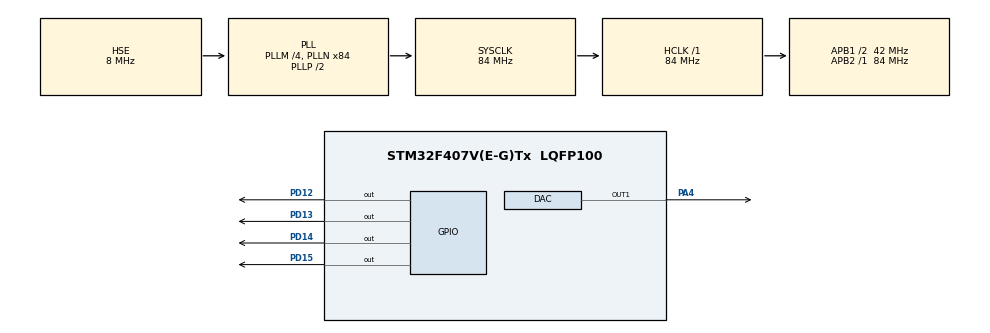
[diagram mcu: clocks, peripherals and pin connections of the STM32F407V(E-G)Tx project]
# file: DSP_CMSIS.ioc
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DAC.DAC_Trigger=DAC_TRIGGER_T2_TRGO
Dma.DAC1.0.Direction=DMA_MEMORY_TO_PERIPH
Dma.DAC1.0.FIFOMode=DMA_FIFOMODE_DISABLE
Dma.DAC1.0.Instance=DMA1_Stream5
Dma.DAC1.0.MemDataAlignment=DMA_MDATAALIGN_WORD
Dma.DAC1.0.MemInc=DMA_MINC_ENABLE
Dma.DAC1.0.Mode=DMA_CIRCULAR
Dma.DAC1.0.PeriphDataAlignment=DMA_PDATAALIGN_WORD
Dma.DAC1.0.PeriphInc=DMA_PINC_DISABLE
Dma.DAC1.0.Priority=DMA_PRIORITY_LOW
Dma.Request0=DAC1
Mcu.Family=STM32F4
Mcu.Name=STM32F407V(E-G)Tx
Mcu.Package=LQFP100
NVIC.DMA1_Stream5_IRQn=true\:0\:0\:false\:false\:true\:false\:true
NVIC.PriorityGroup=NVIC_PRIORITYGROUP_4
NVIC.TIM2_IRQn=true\:0\:0\:false\:false\:true\:true\:true
PA4.Signal=COMP_DAC1_group
PD12.Signal=GPIO_Output
PD13.Signal=GPIO_Output
PD14.Signal=GPIO_Output
PD15.Signal=GPIO_Output
PH0-OSC_IN.Mode=HSE-External-Oscillator
PH0-OSC_IN.Signal=RCC_OSC_IN
PH1-OSC_OUT.Mode=HSE-External-Oscillator
PH1-OSC_OUT.Signal=RCC_OSC_OUT
ProjectManager.HeapSize=0x200
ProjectManager.StackSize=0x400
ProjectManager.TargetToolchain=STM32CubeIDE
RCC.48MHZClocksFreq_Value=42000000
RCC.AHBFreq_Value=84000000
RCC.APB1CLKDivider=RCC_HCLK_DIV2
RCC.APB1Freq_Value=42000000
RCC.APB1TimFreq_Value=84000000
RCC.APB2Freq_Value=84000000
RCC.APB2TimFreq_Value=84000000
RCC.CortexFreq_Value=84000000
RCC.HCLKFreq_Value=84000000
RCC.HSE_VALUE=8000000
RCC.HSI_VALUE=16000000
RCC.LSE_VALUE=32768
RCC.PLLM=4
RCC.PLLN=84
RCC.PLLSourceVirtual=RCC_PLLSOURCE_HSE
RCC.SYSCLKFreq_VALUE=84000000
RCC.SYSCLKSource=RCC_SYSCLKSOURCE_PLLCLK
RCC.VCOOutputFreq_Value=168000000
SH.COMP_DAC1_group.0=DAC_OUT1,DAC_OUT1
TIM2.Period=10-1
TIM2.Prescaler=84-1
TIM2.TIM_MasterOutputTrigger=TIM_TRGO_UPDATE
VP_TIM2_VS_ClockSourceINT.Mode=Internal
board=custom

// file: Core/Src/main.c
/* USER CODE BEGIN Header */
/**
  ******************************************************************************
  * @file           : main.c
  * @brief          : Main program body
  ******************************************************************************
  * @attention
  *
  * <h2><center>&copy; Copyright (c) 2021 STMicroelectronics.
  * All rights reserved.</center></h2>
  *
  * This software component is licensed by ST under BSD 3-Clause license,
  * the "License"; You may not use this file except in compliance with the
  * License. You may obtain a copy of the License at:
  *                        opensource.org/licenses/BSD-3-Clause
  *
  ******************************************************************************
  */
/* USER CODE END Header */
#include "main.h"

/* USER CODE BEGIN Includes */
#define ARM_MATH_CM4
#include "arm_math.h"
#include "math.h"
#include "stdlib.h"
/* USER CODE END Includes */

/* USER CODE BEGIN PD */

#define TEST_LENGTH_SAMPLES  500 // in example, TEST_LENGTH_SAMPLES = 320
#define SNR_THRESHOLD_F32    140.0f
#define BLOCK_SIZE            32
#define NUM_TAPS              29

#define pi 3.141592f
/* USER CODE END PD */

DAC_HandleTypeDef hdac;
DMA_HandleTypeDef hdma_dac1;

TIM_HandleTypeDef htim2;

/* USER CODE BEGIN PV */
 float32_t testInput_f32_1kHz_15kHz[TEST_LENGTH_SAMPLES];
 float32_t refOutput[TEST_LENGTH_SAMPLES]; ///////////

 uint32_t tmp[TEST_LENGTH_SAMPLES], tmp2[TEST_LENGTH_SAMPLES];
 uint32_t val[TEST_LENGTH_SAMPLES];
 uint32_t var;
 uint32_t val_noise[TEST_LENGTH_SAMPLES];
 uint32_t sum_noise[TEST_LENGTH_SAMPLES];
 uint32_t val2[TEST_LENGTH_SAMPLES];

/* -------------------------------------------------------------------
 * Declare Test output buffer
 * ------------------------------------------------------------------- */

 float32_t testOutput[TEST_LENGTH_SAMPLES];

/* -------------------------------------------------------------------
 * Declare State buffer of size (numTaps + blockSize - 1)
 * ------------------------------------------------------------------- */

static float32_t firStateF32[BLOCK_SIZE + NUM_TAPS - 1];

/* ----------------------------------------------------------------------
** FIR Coefficients buffer generated using fir1() MATLAB function.
** fir1(28, 6/24)
** ------------------------------------------------------------------- */

//const float32_t firCoeffs32[NUM_TAPS] = {
//  -0.0018225230f, -0.0015879294f, +0.0000000000f, +0.0036977508f, +0.0080754303f, +0.0085302217f, -0.0000000000f, -0.0173976984f,
//  -0.0341458607f, -0.0333591565f, +0.0000000000f, +0.0676308395f, +0.1522061835f, +0.2229246956f, +0.2504960933f, +0.2229246956f,
//  +0.1522061835f, +0.0676308395f, +0.0000000000f, -0.0333591565f, -0.0341458607f, -0.0173976984f, -0.0000000000f, +0.0085302217f,
//  +0.0080754303f, +0.0036977508f, +0.0000000000f, -0.0015879294f, -0.0018225230f
//}; // example --> Filter only noise

const float32_t firCoeffs32[NUM_TAPS] = {
		0.002953541, 0.003686215, 0.00541707, 0.008286878, 0.012348381, 0.017554835, 0.023757007, 0.030709219,
		0.038084193, 0.045495597, 0.052526493, 0.058761266, 0.063818281, 0.067380398, 0.069220626, 0.069220626,
		0.067380398, 0.063818281, 0.058761266, 0.052526493, 0.045495597, 0.038084193, 0.030709219, 0.023757007,
		0.017554835, 0.012348381, 0.008286878, 0.00541707, 0.003686215, 0.002953541

}; //Using Hamming window with Fc = 200 Hz to filter signal 300Hz

/* ------------------------------------------------------------------
 * Global variables for FIR LPF Example
 * ------------------------------------------------------------------- */

uint32_t blockSize = BLOCK_SIZE;
uint32_t numBlocks = TEST_LENGTH_SAMPLES/BLOCK_SIZE;

float32_t  snr; /////////////

uint32_t j; ////////////////////
arm_fir_instance_f32 S;
arm_status status;
float32_t  *inputF32, *outputF32;

/* USER CODE END PV */

void SystemClock_Config(void);
static void MX_GPIO_Init(void);
static void MX_DMA_Init(void);
static void MX_DAC_Init(void);
static void MX_TIM2_Init(void);
/* USER CODE BEGIN PFP */
void sinval();
void sinval2();
void noise();
void sum_signal();
void fir();
int _write(int file, char *ptr, int len);
/* USER CODE END PFP */

int main(void)
{

  /* MCU Configuration--------------------------------------------------------*/

  /* Reset of all peripherals, Initializes the Flash interface and the Systick. */
  HAL_Init();

  /* Configure the system clock */
  SystemClock_Config();

  /* Initialize all configured peripherals */
  MX_GPIO_Init();
  MX_DMA_Init();
  MX_DAC_Init();
  MX_TIM2_Init();
  /* USER CODE BEGIN 2 */

//  uint32_t i; ////////////////////
//  arm_fir_instance_f32 S;
//  arm_status status;
//  float32_t  *inputF32, *outputF32;
//
//  /* Initialize input and output buffer pointers */
//  for(int k = 0; k < TEST_LENGTH_SAMPLES; k++)
//	  {
//	  	  inputF32[k] = testInput_f32_1kHz_15kHz[k];
//	  	  outputF32[k] = testOutput[k];
//	  }
  inputF32 = &testInput_f32_1kHz_15kHz[0];
  outputF32 = &testOutput[0];

  /* Call FIR init function to initialize the instance structure. */
  arm_fir_init_f32(&S, NUM_TAPS, (float32_t *)&firCoeffs32[0], &firStateF32[0], blockSize);
  HAL_TIM_Base_Start(&htim2);
  sinval();
  sinval2();
  noise();
  sum_signal();
  fir();

	for(int a = 0; a < TEST_LENGTH_SAMPLES; a++ )
		//printf("%f\n", outputF32[a]);
		tmp2[a] = (uint32_t)outputF32[a];

  HAL_DAC_Start_DMA(&hdac, DAC_CHANNEL_1, tmp2,TEST_LENGTH_SAMPLES, DAC_ALIGN_12B_R);
	for(int a = 0; a < TEST_LENGTH_SAMPLES; a++ )
		printf("%f\n", outputF32[a]);
  // Press ctr+space to show constant and parameter in function
  /* ----------------------------------------------------------------------
  ** Call the FIR process function for every blockSize samples
  ** ------------------------------------------------------------------- */

//  for(i=0; i < numBlocks; i++)
//  {
//    arm_fir_f32(&S, inputF32 + (i * blockSize), outputF32 + (i * blockSize), blockSize);
//  }

  /* ----------------------------------------------------------------------
  ** Compare the generated output against the reference output computed
  ** in MATLAB.
  ** ------------------------------------------------------------------- */

//  snr = arm_snr_f32(&refOutput[0], &testOutput[0], TEST_LENGTH_SAMPLES);
//
//  if (snr < SNR_THRESHOLD_F32)
//  {
//    status = ARM_MATH_TEST_FAILURE;
//  }
//  else
//  {
//    status = ARM_MATH_SUCCESS;
//  }
//
//  /* ----------------------------------------------------------------------
//  ** Loop here if the signal does not match the reference output.
//  ** ------------------------------------------------------------------- */
//
//  if( status != ARM_MATH_SUCCESS)
//  {
//    while(1);
//  }
  /* USER CODE END 2 */

  /* Infinite loop */
  while (1)
  {

  }
}

void SystemClock_Config(void)
{
  RCC_OscInitTypeDef RCC_OscInitStruct = {0};
  RCC_ClkInitTypeDef RCC_ClkInitStruct = {0};

  /** Configure the main internal regulator output voltage
  */
  __HAL_RCC_PWR_CLK_ENABLE();
  __HAL_PWR_VOLTAGESCALING_CONFIG(PWR_REGULATOR_VOLTAGE_SCALE1);
  /** Initializes the RCC Oscillators according to the specified parameters
  * in the RCC_OscInitTypeDef structure.
  */
  RCC_OscInitStruct.OscillatorType = RCC_OSCILLATORTYPE_HSE;
  RCC_OscInitStruct.HSEState = RCC_HSE_ON;
  RCC_OscInitStruct.PLL.PLLState = RCC_PLL_ON;
  RCC_OscInitStruct.PLL.PLLSource = RCC_PLLSOURCE_HSE;
  RCC_OscInitStruct.PLL.PLLM = 4;
  RCC_OscInitStruct.PLL.PLLN = 84;
  RCC_OscInitStruct.PLL.PLLP = RCC_PLLP_DIV2;
  RCC_OscInitStruct.PLL.PLLQ = 4;
  if (HAL_RCC_OscConfig(&RCC_OscInitStruct) != HAL_OK)
  {
    Error_Handler();
  }
  /** Initializes the CPU, AHB and APB buses clocks
  */
  RCC_ClkInitStruct.ClockType = RCC_CLOCKTYPE_HCLK|RCC_CLOCKTYPE_SYSCLK
                              |RCC_CLOCKTYPE_PCLK1|RCC_CLOCKTYPE_PCLK2;
  RCC_ClkInitStruct.SYSCLKSource = RCC_SYSCLKSOURCE_PLLCLK;
  RCC_ClkInitStruct.AHBCLKDivider = RCC_SYSCLK_DIV1;
  RCC_ClkInitStruct.APB1CLKDivider = RCC_HCLK_DIV2;
  RCC_ClkInitStruct.APB2CLKDivider = RCC_HCLK_DIV1;

  if (HAL_RCC_ClockConfig(&RCC_ClkInitStruct, FLASH_LATENCY_2) != HAL_OK)
  {
    Error_Handler();
  }
}

static void MX_DAC_Init(void)
{

  DAC_ChannelConfTypeDef sConfig = {0};

  /** DAC Initialization
  */
  hdac.Instance = DAC;
  if (HAL_DAC_Init(&hdac) != HAL_OK)
  {
    Error_Handler();
  }
  /** DAC channel OUT1 config
  */
  sConfig.DAC_Trigger = DAC_TRIGGER_T2_TRGO;
  sConfig.DAC_OutputBuffer = DAC_OUTPUTBUFFER_ENABLE;
  if (HAL_DAC_ConfigChannel(&hdac, &sConfig, DAC_CHANNEL_1) != HAL_OK)
  {
    Error_Handler();
  }

}

static void MX_TIM2_Init(void)
{

  TIM_ClockConfigTypeDef sClockSourceConfig = {0};
  TIM_MasterConfigTypeDef sMasterConfig = {0};

  htim2.Instance = TIM2;
  htim2.Init.Prescaler = 84-1;
  htim2.Init.CounterMode = TIM_COUNTERMODE_UP;
  htim2.Init.Period = 10-1;
  htim2.Init.ClockDivision = TIM_CLOCKDIVISION_DIV1;
  htim2.Init.AutoReloadPreload = TIM_AUTORELOAD_PRELOAD_DISABLE;
  if (HAL_TIM_Base_Init(&htim2) != HAL_OK)
  {
    Error_Handler();
  }
  sClockSourceConfig.ClockSource = TIM_CLOCKSOURCE_INTERNAL;
  if (HAL_TIM_ConfigClockSource(&htim2, &sClockSourceConfig) != HAL_OK)
  {
    Error_Handler();
  }
  sMasterConfig.MasterOutputTrigger = TIM_TRGO_UPDATE;
  sMasterConfig.MasterSlaveMode = TIM_MASTERSLAVEMODE_DISABLE;
  if (HAL_TIMEx_MasterConfigSynchronization(&htim2, &sMasterConfig) != HAL_OK)
  {
    Error_Handler();
  }

}

static void MX_DMA_Init(void)
{

  /* DMA controller clock enable */
  __HAL_RCC_DMA1_CLK_ENABLE();

  /* DMA interrupt init */
  /* DMA1_Stream5_IRQn interrupt configuration */
  HAL_NVIC_SetPriority(DMA1_Stream5_IRQn, 0, 0);
  HAL_NVIC_EnableIRQ(DMA1_Stream5_IRQn);

}

static void MX_GPIO_Init(void)
{
  GPIO_InitTypeDef GPIO_InitStruct = {0};

  /* GPIO Ports Clock Enable */
  __HAL_RCC_GPIOH_CLK_ENABLE();
  __HAL_RCC_GPIOA_CLK_ENABLE();
  __HAL_RCC_GPIOD_CLK_ENABLE();

  /*Configure GPIO pin Output Level */
  HAL_GPIO_WritePin(GPIOD, GPIO_PIN_12|GPIO_PIN_13|GPIO_PIN_14|GPIO_PIN_15, GPIO_PIN_RESET);

  /*Configure GPIO pins : PD12 PD13 PD14 PD15 */
  GPIO_InitStruct.Pin = GPIO_PIN_12|GPIO_PIN_13|GPIO_PIN_14|GPIO_PIN_15;
  GPIO_InitStruct.Mode = GPIO_MODE_OUTPUT_PP;
  GPIO_InitStruct.Pull = GPIO_NOPULL;
  GPIO_InitStruct.Speed = GPIO_SPEED_FREQ_LOW;
  HAL_GPIO_Init(GPIOD, &GPIO_InitStruct);

}

/* USER CODE BEGIN 4 */

void sum_signal() //Generating Sinewave with noise ==> signal before filtering
{
	for(int i = 0; i < TEST_LENGTH_SAMPLES; i++)
		{
		testInput_f32_1kHz_15kHz[i] = (float32_t)val_noise[i] + (float32_t)val[i] + (float32_t)val2[i];
		tmp[i] = (uint32_t)testInput_f32_1kHz_15kHz[i];
		//printf("%f\n", testInput_f32_1kHz_15kHz[i]);

		}

}

void noise()  //Noise generation
{
	for(int i = 0; i < TEST_LENGTH_SAMPLES; i++)
			val_noise[i] = (rand() % 12)*((0xFF+1)/2);

}

void sinval() //Sinewave generation
{
	for(int i = 0; i < TEST_LENGTH_SAMPLES; i++) //200Hz
		val[i] = ((sin(i*pi*2/TEST_LENGTH_SAMPLES)+1)*((0xFFF+1)/2))/3; //divide by 3 to make amplitude smaller

}

void sinval2() //Sinewave generation
{
	for(int i = 0; i < TEST_LENGTH_SAMPLES; i++) //2kHz
		val2[i] = ((sin((10*i*pi*2/TEST_LENGTH_SAMPLES))+1)*((0xFFF+1)/2))/3; //divide by 3 to make amplitude smaller

}

//void conv_signal() //Convolution SineWave-noise with impulse response ==> signal after filtering
//{
//	for(int i =0; i < N; i++)
//		{
//			for(int j =0 ; j < 9; j++)
//				tmp[i] = tmp[i] + h[j]*(float)sum_noise[i-j];
//			conv[i] = (uint32_t)tmp[i];
//			printf("%d\n", conv[i]);
//		}
//}

void fir()
{
	for(j=0; j < numBlocks; j++)
		{
			arm_fir_f32(&S, inputF32 + (j * blockSize), outputF32 + (j * blockSize), blockSize);
//			for(int a = j; a < a + blockSize; a++ )
//				printf("%f\n", outputF32[a]);
		}

}

int _write(int file, char *ptr, int len)
{
  /* Implement your write code here, this is used by puts and printf for example */
  int i=0;
  for(i=0 ; i<len ; i++)
    ITM_SendChar((*ptr++));
  return len;
}
/* USER CODE END 4 */

void Error_Handler(void)
{
  __disable_irq();
  while (1)
  {
  }
}

/************************ (C) COPYRIGHT STMicroelectronics *****END OF FILE****/
